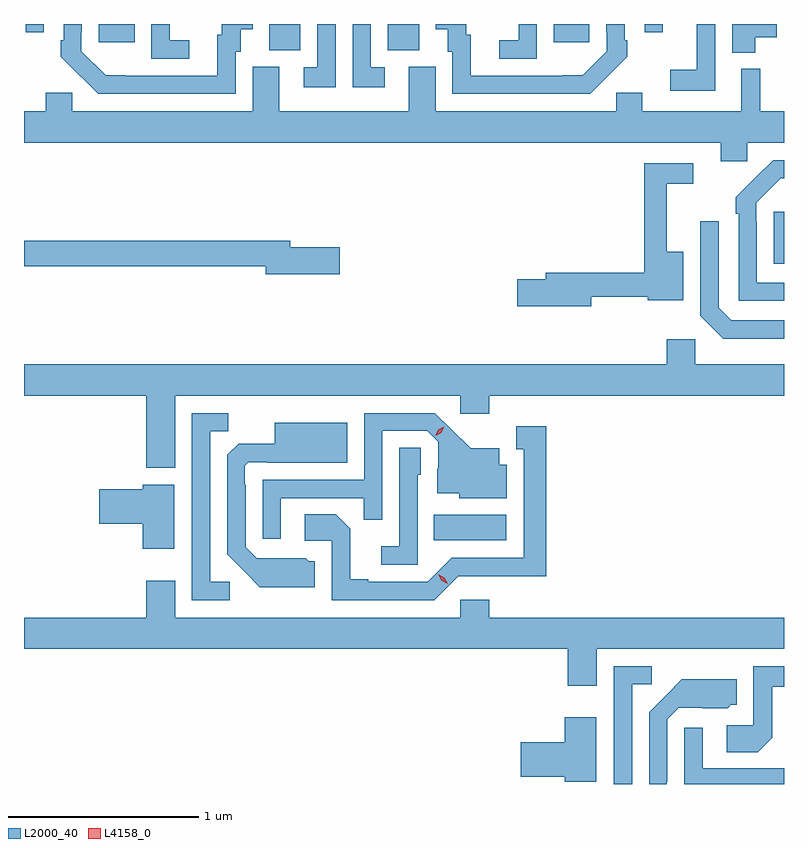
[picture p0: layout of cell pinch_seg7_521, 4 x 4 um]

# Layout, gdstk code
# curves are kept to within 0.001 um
import gdstk
lib = gdstk.Library(unit=1e-6, precision=1e-09)
def R(c, l, rs):  # rectangles x0, y0, x1, y1
    for r in rs: c.add(gdstk.rectangle(r[:2], r[2:], *l))
def P(c, l, *ps):  # polygons
    for p in ps: c.add(gdstk.Polygon(p, *l))
L2000_40 = (2000, 40)
L4158_0 = (4158, 0)

pinch_seg7_521 = lib.new_cell('pinch_seg7_521')
R(pinch_seg7_521, L2000_40, [(149.578,1067.786,149.959,1067.92), (151.367,1069.241,151.421,1069.516), (148.712,1070.365,148.876,1070.504), (149.336,1070.365,149.5,1070.504), (147.815,1070.409,148.003,1070.504), (150.209,1070.409,150.397,1070.504), (147.429,1070.46,147.525,1070.504), (150.687,1070.46,150.783,1070.504)])
P(pinch_seg7_521, L2000_40, [(151.059,1070.504),(150.962,1070.504),(150.962,1070.263),(150.822,1070.263),(150.822,1070.154),(151.059,1070.154)],
  [(148.536,1070.358),(148.561,1070.358),(148.561,1070.477),(148.624,1070.477),(148.624,1070.504),(148.463,1070.504),(148.463,1070.448),(148.439,1070.448),(148.439,1070.232),(147.852,1070.233),(147.723,1070.361),(147.723,1070.461),(147.726,1070.461),(147.726,1070.504),(147.63,1070.504),(147.63,1070.419),(147.615,1070.419),(147.615,1070.331),(147.812,1070.136),(148.536,1070.136)],
  [(150.491,1070.227),(150.492,1070.226),(150.597,1070.331),(150.597,1070.419),(150.582,1070.419),(150.582,1070.504),(150.486,1070.504),(150.486,1070.461),(150.489,1070.461),(150.489,1070.361),(150.361,1070.233),(150.257,1070.232),(149.773,1070.232),(149.773,1070.448),(149.749,1070.448),(149.749,1070.504),(149.588,1070.504),(149.588,1070.477),(149.651,1070.477),(149.651,1070.358),(149.676,1070.358),(149.676,1070.136),(150.4,1070.136)],
  [(151.27,1070.435),(151.384,1070.435),(151.384,1070.504),(151.148,1070.504),(151.148,1070.354),(151.27,1070.354)],
  [(148.291,1070.418),(148.188,1070.418),(148.188,1070.504),(148.092,1070.504),(148.092,1070.322),(148.291,1070.322)],
  [(150.12,1070.504),(150.024,1070.504),(150.024,1070.418),(149.922,1070.418),(149.922,1070.322),(150.12,1070.322)],
  [(149.061,1070.504),(148.965,1070.504),(148.965,1070.277),(148.893,1070.277),(148.893,1070.172),(149.061,1070.172)],
  [(149.32,1070.277),(149.247,1070.277),(149.247,1070.504),(149.151,1070.504),(149.151,1070.172),(149.32,1070.172)],
  [(151.227,1069.88),(151.421,1069.88),(151.421,1070.044),(151.295,1070.044),(151.295,1070.269),(151.196,1070.269),(151.196,1070.044),(150.676,1070.044),(150.676,1070.142),(150.537,1070.142),(150.537,1070.044),(149.587,1070.044),(149.587,1070.28),(149.447,1070.28),(149.447,1070.044),(148.765,1070.044),(148.765,1070.28),(148.625,1070.28),(148.625,1070.044),(147.675,1070.044),(147.675,1070.142),(147.536,1070.142),(147.536,1070.044),(147.421,1070.044),(147.421,1069.88),(151.088,1069.88),(151.088,1069.782),(151.227,1069.782)],
  [(151.421,1069.143),(151.278,1069.143),(151.278,1069.463),(151.275,1069.463),(151.275,1069.563),(151.404,1069.692),(151.421,1069.692),(151.421,1069.788),(151.364,1069.788),(151.167,1069.593),(151.167,1069.505),(151.182,1069.505),(151.182,1069.047),(151.421,1069.047)],
  [(150.406,1069.068),(150.704,1069.068),(150.704,1069.049),(150.892,1069.049),(150.892,1069.306),(150.803,1069.306),(150.803,1069.662),(150.943,1069.662),(150.943,1069.77),(150.685,1069.77),(150.685,1069.196),(150.167,1069.196),(150.167,1069.16),(150.018,1069.16),(150.018,1069.018),(150.406,1069.018)],
  [(151.421,1068.945),(151.143,1068.945),(151.077,1069.011),(151.077,1069.465),(150.981,1069.465),(150.981,1068.969),(151.102,1068.848),(151.421,1068.848)],
  [(149.083,1069.328),(148.822,1069.328),(148.822,1069.364),(147.421,1069.364),(147.421,1069.228),(148.694,1069.228),(148.694,1069.186),(149.083,1069.186)],
  [(148.216,1068.548),(149.718,1068.548),(149.718,1068.453),(149.87,1068.453),(149.87,1068.548),(151.421,1068.548),(151.421,1068.712),(150.954,1068.712),(150.954,1068.844),(150.803,1068.844),(150.803,1068.712),(147.421,1068.712),(147.421,1068.548),(148.064,1068.548),(148.064,1068.168),(148.216,1068.168)],
  [(148.773,1068.009),(149.209,1068.009),(149.209,1067.896),(149.307,1067.896),(149.307,1068.363),(149.544,1068.363),(149.601,1068.306),(149.601,1068.164),(149.597,1068.164),(149.597,1068.035),(149.712,1068.035),(149.712,1068.008),(149.962,1068.008),(149.962,1068.184),(149.923,1068.184),(149.923,1068.271),(149.771,1068.271),(149.584,1068.456),(149.211,1068.456),(149.211,1068.105),(148.677,1068.105),(148.677,1067.796),(148.773,1067.796)],
  [(148.504,1067.568),(148.401,1067.568),(148.401,1068.361),(148.497,1068.361),(148.497,1068.456),(148.305,1068.456),(148.305,1067.472),(148.504,1067.472)],
  [(148.951,1067.676),(148.92,1067.676),(148.904,1067.692),(148.647,1067.691),(148.587,1067.751),(148.587,1068.08),(148.584,1068.08),(148.584,1068.18),(148.602,1068.198),(148.702,1068.198),(148.702,1068.194),(149.122,1068.194),(149.122,1068.406),(148.742,1068.406),(148.742,1068.295),(148.55,1068.295),(148.491,1068.236),(148.491,1067.714),(148.663,1067.54),(148.951,1067.54)],
  [(149.706,1067.598),(150.169,1067.597),(150.169,1068.388),(150.011,1068.388),(150.011,1068.267),(150.05,1068.267),(150.05,1067.694),(149.673,1067.694),(149.547,1067.568),(149.233,1067.568),(149.233,1067.581),(149.139,1067.581),(149.139,1067.848),(149.063,1067.924),(148.899,1067.924),(148.899,1067.784),(149.04,1067.784),(149.04,1067.472),(149.58,1067.472)],
  [(149.493,1068.132),(149.508,1068.132),(149.508,1068.275),(149.397,1068.275),(149.397,1067.755),(149.301,1067.755),(149.301,1067.658),(149.493,1067.658)],
  [(148.213,1068.079),(148.046,1068.079),(148.046,1068.056),(147.816,1068.056),(147.816,1067.873),(148.046,1067.873),(148.046,1067.742),(148.213,1067.742)],
  [(150.436,1067.216),(151.421,1067.216),(151.421,1067.38),(149.87,1067.38),(149.87,1067.473),(149.718,1067.473),(149.718,1067.38),(148.216,1067.38),(148.216,1067.575),(148.064,1067.575),(148.064,1067.38),(147.421,1067.38),(147.421,1067.216),(150.284,1067.216),(150.284,1067.022),(150.436,1067.022)],
  [(151.359,1066.748),(151.359,1067.016),(151.421,1067.016),(151.421,1067.124),(151.26,1067.124),(151.26,1066.812),(151.119,1066.812),(151.119,1066.672),(151.283,1066.672)],
  [(150.621,1067.028),(150.724,1067.028),(150.724,1067.124),(150.525,1067.124),(150.525,1066.504),(150.621,1066.504)],
  [(150.804,1066.516),(150.807,1066.516),(150.807,1066.845),(150.867,1066.905),(151.124,1066.904),(151.14,1066.92),(151.171,1066.92),(151.171,1067.056),(150.883,1067.056),(150.711,1066.882),(150.711,1066.504),(150.804,1066.504)],
  [(150.433,1066.855),(150.266,1066.855),(150.266,1066.724),(150.036,1066.724),(150.036,1066.541),(150.266,1066.541),(150.266,1066.517),(150.433,1066.517)],
  [(151.421,1066.587),(150.993,1066.587),(150.993,1066.801),(150.897,1066.801),(150.897,1066.504),(151.421,1066.504)])
P(pinch_seg7_521, L4158_0, [(149.65,1067.557),(149.618,1067.576),(149.602,1067.609),(149.602,1067.609),(149.602,1067.609),(149.633,1067.59),(149.65,1067.557),(149.65,1067.557)],
  [(149.585,1068.338),(149.585,1068.338),(149.602,1068.368),(149.633,1068.384),(149.633,1068.384),(149.633,1068.384),(149.616,1068.354),(149.585,1068.338)])

lib.write_gds('pinch_seg7_521.gds')
